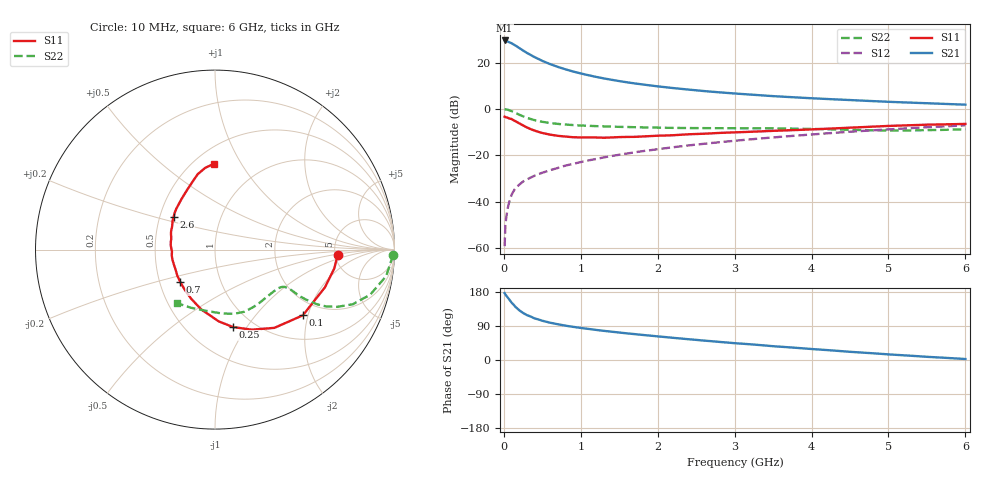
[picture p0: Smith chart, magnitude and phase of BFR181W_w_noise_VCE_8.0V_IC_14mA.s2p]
! Infineon Technologies  Discrete & RF Semiconductors
! BFR181W
! VCE =  8.0 V,  IC =  14 mA
! Common Emitter S-Parameters:  Jan 2017
# GHz  S  MA  R  50
!  f  S11  S21  S12  S22
! GHz  MAG  ANG  MAG  ANG  MAG  ANG  MAG  ANG
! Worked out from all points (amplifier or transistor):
!   77 points, 10 MHz to 6 GHz, reference 50 ohm
!   highest |S21| = 29.6 dB at 10 MHz (marker M1)
!   |S21| within 3 dB of that: start of sweep to 188.2 MHz
!   unconditionally stable (mu >= 1): 926.5 MHz to 2.716 GHz
!   at 130 MHz: K = 0.32, MSG = 31.5 dB, |S12| = -35.2 dB
!   at 2.2 GHz: K = 1.03, MAG = 11.6 dB, |S12| = -16.5 dB
!   at 6 GHz: K = 0.84, MSG = 4.5 dB, |S12| = -7.0 dB
!   lowest NFmin = 1.43 dB at 450 MHz
!   S11 on the Smith chart (normalised r, x): 10 MHz: 5.24, -0.63; 100 MHz: 1.59, -1.86; 250 MHz: 0.81, -0.87; 700 MHz: 0.64, -0.25; 2.6 GHz: 0.59, +0.23; 6 GHz: 0.62, +0.77
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0.01  0.6837 -2.7  30.12 176.6  0.0011 97.9  0.9896 -1.6
0.02  0.6728 -9.0  29.71 173.1  0.003 89.5  0.9851 -3.3
0.05  0.6477 -18.9  28.63 164.9  0.0071 82.4  0.9652 -8.8
0.1  0.6113 -36.8  26.31 151.5  0.014 76.8  0.9009 -16.2
0.15  0.5474 -52.8  23.5 140.5  0.0195 69.1  0.8265 -21.6
0.2  0.4911 -65.3  20.69 131.3  0.0233 66.5  0.754 -25.0
0.25  0.4429 -76.9  18.31 124.1  0.0273 65.0  0.6946 -27.1
0.3  0.4001 -87.1  16.22 118.4  0.0302 63.6  0.6438 -28.2
0.4  0.3424 -102.8  13.14 109.8  0.0364 64.5  0.5742 -28.8
0.5  0.3043 -115.9  10.91 103.6  0.0422 64.2  0.5292 -28.7
0.6  0.2802 -127.0  9.328 98.5  0.0478 65.7  0.4989 -28.2
0.7  0.2642 -137.2  8.115 94.4  0.0534 66.9  0.4777 -27.9
0.9  0.2463 -153.1  6.439 87.5  0.0655 68.4  0.4506 -28.0
1.1  0.2436 -165.9  5.351 82.0  0.0778 69.5  0.4343 -28.6
1.3  0.2401 -177.3  4.571 76.9  0.0904 69.6  0.4219 -29.9
1.5  0.2478 174.4  4.005 72.5  0.1031 69.7  0.4123 -31.7
2.1  0.2684 154.1  2.955 60.5  0.1427 68.3  0.394 -39.9
2.6  0.2931 142.0  2.442 51.2  0.1776 66.2  0.3872 -48.7
3.1  0.3179 131.2  2.106 43.0  0.2139 63.3  0.384 -57.6
4.1  0.3692 114.5  1.676 27.6  0.2902 56.4  0.3693 -75.5
5.1  0.4368 101.5  1.41 13.6  0.3713 47.9  0.3441 -100.8
6  0.4769 91.0  1.241 2.6  0.4445 39.1  0.3661 -125.6
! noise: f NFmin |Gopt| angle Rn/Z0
0.45  1.43  0.06  16  0.21
0.9  1.48  0.06  32  0.21
1.9  1.92  0.11  -141  0.21
2.4  2.13  0.14  -109  0.27
